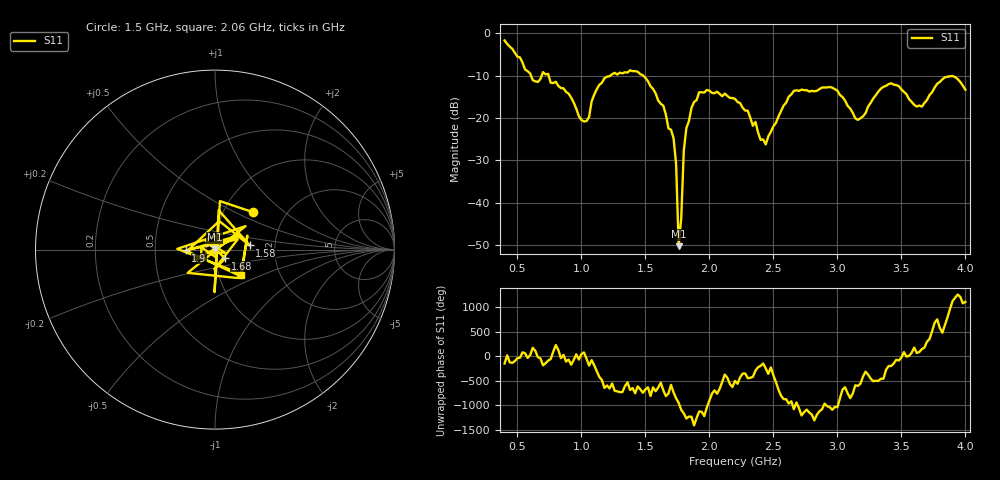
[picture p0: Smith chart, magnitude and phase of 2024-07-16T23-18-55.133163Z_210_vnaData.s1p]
!Created with skrf (http://scikit-rf.org).
# Hz S RI R 50.0
!freq ReS11 ImS11
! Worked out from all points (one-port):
!   181 points, 400 MHz to 4 GHz, reference 50 ohm
!   lowest |S11| = -50.2 dB at 1.76 GHz (marker M1), VSWR 1.01, Z = 49.8 + j0.234 ohm
!   |S11| at or under -10 dB: 606.4 MHz to 689.7 MHz (83.36 MHz wide, 12.9 % of centre); 744 MHz to 1.226 GHz (481.9 MHz wide, 48.9 % of centre); 1.483 GHz to end of sweep
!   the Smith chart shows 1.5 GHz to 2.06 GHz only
!   S11 on the Smith chart (normalised r, x): 1.5 GHz: 1.38, +0.63; 1.58 GHz: 1.48, +0.07; 1.68 GHz: 1.12, -0.11; 1.9 GHz: 0.72, -0.01; 2.06 GHz: 1.28, -0.38
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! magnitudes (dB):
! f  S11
! 400 MHz  -1.7
! 620 MHz  -11.1
! 860 MHz  -13.0
! 1.04 GHz  -20.7
! 1.14 GHz  -12.2
! 1.3 GHz  -9.3
! 1.5 GHz  -10.5
! 1.58 GHz  -14.2
! 1.68 GHz  -22.4
! 1.72 GHz  -24.8
! 1.74 GHz  -30.9
! 1.76 GHz  -50.2
! 1.78 GHz  -43.6
! 1.8 GHz  -27.7
! 1.82 GHz  -22.4
! 1.9 GHz  -15.8
! 2.06 GHz  -13.8
! 2.2 GHz  -15.5
! 2.44 GHz  -26.2
! 2.66 GHz  -13.6
! 2.96 GHz  -12.8
! 3.1 GHz  -17.8
! 3.18 GHz  -20.1
! 3.42 GHz  -11.8
! 3.56 GHz  -15.6
! 3.66 GHz  -17.3
! 3.86 GHz  -10.2
! 4 GHz  -13.3
